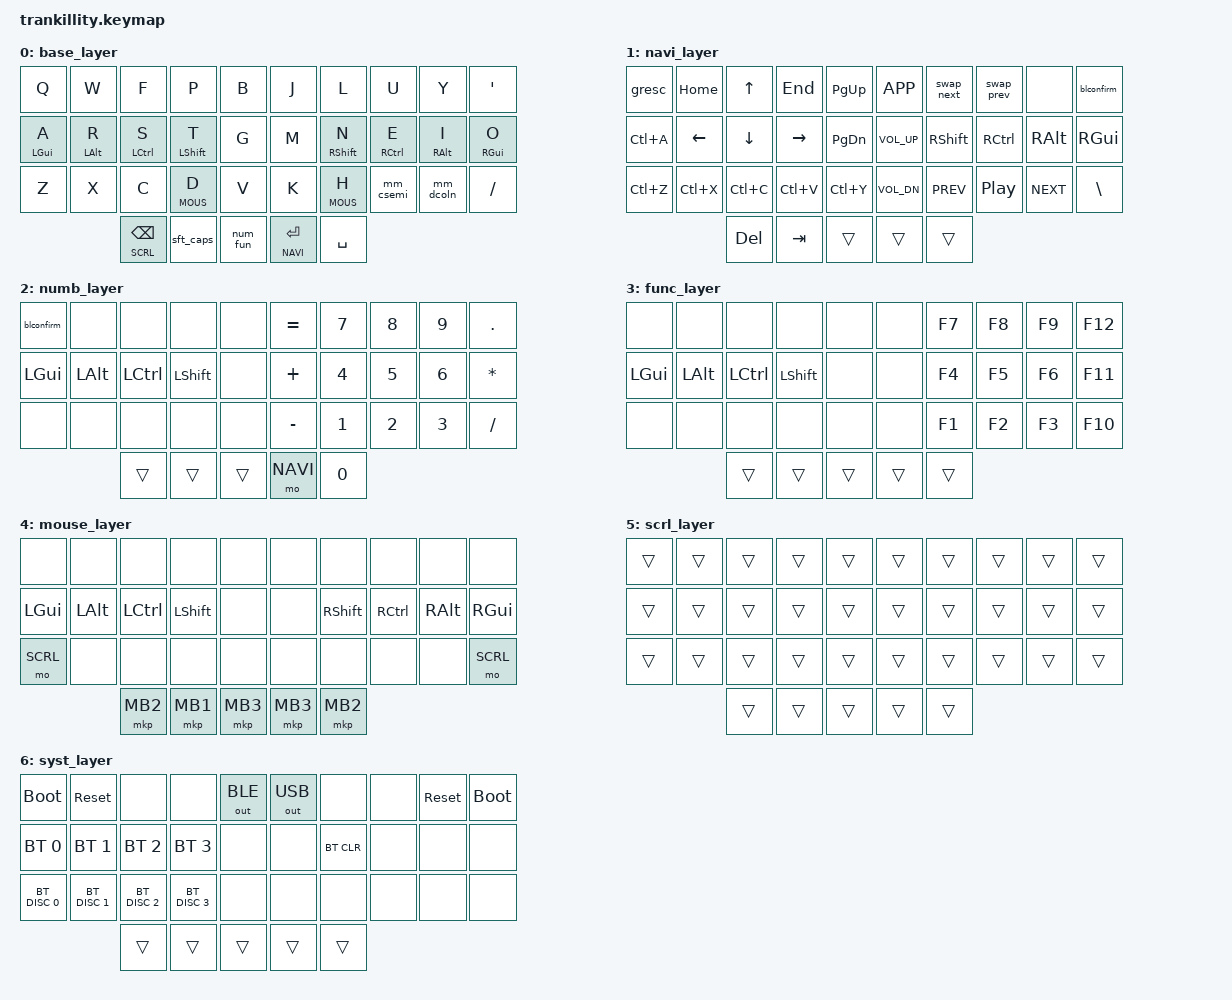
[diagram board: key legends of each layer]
/*
 * Copyright (c) 2020 The ZMK Contributors
 *
 * SPDX-License-Identifier: MIT
 */
 
/* upstream bindings and behaviors */
#include <behaviors.dtsi>
#include <dt-bindings/zmk/bt.h>
#include <dt-bindings/zmk/keys.h>
#include <dt-bindings/zmk/mouse.h>
#include <dt-bindings/zmk/outputs.h>
#include <behaviors/mouse_keys.dtsi>
#include <dt-bindings/zmk/ext_power.h>

/* layer definitions */
#define BASE 0
#define NAVI 1
#define NUMB 2
#define FUNC 3
#define MOUS 4
#define SCRL 5
#define SYST 6

/* local overlays */
#include "behaviors.dtsi"
#include "combos.dtsi"

/ {
    conditional_layers {
        compatible = "zmk,conditional-layers";
        tri_layer {
            if-layers = <NAVI NUMB>;
            then-layer = <SYST>;
        };
    };

    keymap {
        compatible = "zmk,keymap";

        base_layer {
            bindings = <
    &kp Q           &kp W           &kp F           &kp P           &kp B           &kp J           &kp L           &kp U           &kp Y           &kp SQT
    &hml LGUI A     &hml LALT R     &hml LCTL S     &hml LSHIFT T   &kp G           &kp M           &hmr RSHIFT N   &hmr RCTRL E    &hmr RALT I     &hmr RGUI O
    &kp Z           &kp X           &kp C           &ltm MOUS D     &kp V           &kp K           &ltm MOUS H     &mm_csemi       &mm_dcoln       &kp FSLH
                                    &ltm SCRL BSPC  &sft_caps       &num_fun        &lt NAVI ENTER  &kp SPACE
            >;
        };

        navi_layer {
            bindings = <
    &gresc          &kp HOME        &kp UP          &kp END         &kp PG_UP       &kp K_APP       &swap_next      &swap_prev      &none           &blconfirm
    &kp LC(A)       &kp LEFT        &kp DOWN        &kp RIGHT       &kp PG_DN       &kp C_VOL_UP    &kp RSHIFT      &kp RCTRL       &kp RALT        &kp RGUI
    &kp LC(Z)       &kp LC(X)       &kp LC(C)       &kp LC(V)       &kp LC(Y)       &kp C_VOL_DN    &kp C_PREV      &kp C_PP        &kp C_NEXT      &kp BSLH
                                    &kp DEL         &kp TAB         &trans          &trans          &trans
            >;
        };

        numb_layer {
            bindings = <
    &blconfirm      &none           &none           &none           &none           &kp EQUAL       &kp N7          &kp N8          &kp N9          &kp DOT
    &kp LGUI        &kp LALT        &kp LCTRL       &kp LSHIFT      &none           &kp PLUS        &kp N4          &kp N5          &kp N6          &kp ASTRK
    &none           &none           &none           &none           &none           &kp MINUS       &kp N1          &kp N2          &kp N3          &kp FSLH
                                    &trans          &trans          &trans          &mo NAVI        &kp N0
            >;
        };

        func_layer {
            bindings = <
    &none           &none           &none           &none           &none           &none           &kp F7          &kp F8          &kp F9          &kp F12
    &kp LGUI        &kp LALT        &kp LCTRL       &kp LSHIFT      &none           &none           &kp F4          &kp F5          &kp F6          &kp F11
    &none           &none           &none           &none           &none           &none           &kp F1          &kp F2          &kp F3          &kp F10
                                    &trans          &trans          &trans          &trans          &trans
            >;
        };

        mouse_layer {
            bindings = <
    &none           &none           &none           &none           &none           &none           &none           &none           &none           &none
    &kp LGUI        &kp LALT        &kp LCTRL       &kp LSHIFT      &none           &none           &kp RSHIFT      &kp RCTRL       &kp RALT        &kp RGUI
    &mo SCRL        &none           &none           &none           &none           &none           &none           &none           &none           &mo SCRL
                                    &mkp MB2        &mkp MB1        &mkp MB3        &mkp MB3        &mkp MB2
            >;
        };

        scrl_layer {
            bindings = <
    &trans          &trans          &trans          &trans          &trans          &trans          &trans          &trans          &trans          &trans
    &trans          &trans          &trans          &trans          &trans          &trans          &trans          &trans          &trans          &trans
    &trans          &trans          &trans          &trans          &trans          &trans          &trans          &trans          &trans          &trans
                                    &trans          &trans          &trans          &trans          &trans
            >;
        };
        
        syst_layer {
            bindings = <
    &bootloader     &sys_reset      &none           &none           &out OUT_BLE    &out OUT_USB    &none           &none           &sys_reset      &bootloader
    &bt BT_SEL 0    &bt BT_SEL 1    &bt BT_SEL 2    &bt BT_SEL 3    &none           &none           &bt BT_CLR      &none           &none           &none
    &bt BT_DISC 0   &bt BT_DISC 1   &bt BT_DISC 2   &bt BT_DISC 3   &none           &none           &none           &none           &none           &none
                                    &trans          &trans          &trans          &trans          &trans
            >;
        };
    };
};
